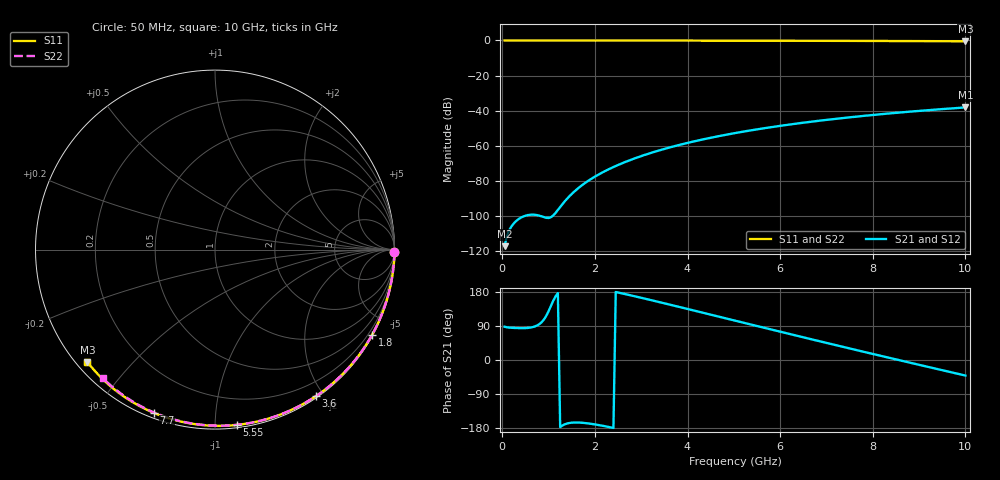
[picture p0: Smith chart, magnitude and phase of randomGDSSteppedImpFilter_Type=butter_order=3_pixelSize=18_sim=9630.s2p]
! freq	dB(S11)	phase(S11)	dB(S12)	phase(S12)
!  dB(S21)	phase(S21)	dB(S22)	phase(S22)
!S-par simulation data
#  GHz  S  DB  R 50
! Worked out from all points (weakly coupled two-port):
!   200 points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, 50 MHz to 10 GHz, reference 50 ohm
!   highest |S21| = -38.18 dB at 10 GHz (marker M1); lowest = -117.2 dB at 50 MHz (marker M2)
!   lowest |S11| = -0.5 dB at 10 GHz (marker M3), VSWR 37.00, Z = 1.54 - j18.9 ohm
!   |S11| at or under -10 dB: nowhere
!   |S22| runs from -0.4 to 0.0 dB; largest |S21 - S12| = 0
!   S11 on the Smith chart (normalised r, x): 50 MHz: open; 1.8 GHz: 0.03, -3.95; 3.6 GHz: 0.02, -1.90; 5.55 GHz: 0.02, -1.13; 7.7 GHz: 0.02, -0.69; 10 GHz: 0.03, -0.38
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0.05  -0.00 -0.8  -117.25 87.7  -117.25 87.7  -0.00 -0.8
0.45  -0.01 -7.2  -100.37 84.0  -100.37 84.0  -0.01 -6.8
0.9  -0.02 -14.4  -100.72 107.0  -100.72 107.0  -0.02 -13.6
1.75  -0.04 -27.6  -81.94 -165.9  -81.94 -165.9  -0.03 -26.1
1.8  -0.04 -28.4  -80.99 -166.5  -80.99 -166.5  -0.03 -26.9
1.85  -0.04 -29.2  -80.09 -167.2  -80.09 -167.2  -0.04 -27.6
2.15  -0.04 -33.8  -75.39 -173.2  -75.39 -173.2  -0.04 -32.0
2.35  -0.05 -36.9  -72.75 -178.1  -72.75 -178.1  -0.04 -34.9
2.55  -0.05 -39.9  -70.40 176.7  -70.40 176.7  -0.05 -37.8
2.95  -0.06 -45.9  -66.36 165.6  -66.36 165.6  -0.06 -43.5
3.4  -0.07 -52.6  -62.57 152.5  -62.57 152.5  -0.07 -49.8
3.6  -0.07 -55.5  -61.08 146.6  -61.08 146.6  -0.07 -52.6
3.9  -0.08 -59.9  -59.03 137.7  -59.03 137.7  -0.08 -56.7
4.3  -0.09 -65.6  -56.58 125.7  -56.58 125.7  -0.09 -62.1
5.05  -0.12 -76.0  -52.67 103.2  -52.67 103.2  -0.11 -72.0
5.55  -0.14 -82.8  -50.46 88.2  -50.46 88.2  -0.13 -78.5
6.1  -0.16 -90.1  -48.30 71.7  -48.30 71.7  -0.15 -85.4
6.7  -0.19 -97.9  -46.21 53.9  -46.21 53.9  -0.18 -92.9
7.7  -0.25 -110.6  -43.26 24.6  -43.26 24.6  -0.24 -104.8
8.35  -0.30 -118.6  -41.61 5.9  -41.61 5.9  -0.29 -112.4
9.2  -0.38 -129.0  -39.72 -18.4  -39.72 -18.4  -0.36 -122.1
10  -0.47 -138.6  -38.18 -41.0  -38.18 -41.0  -0.44 -131.1
